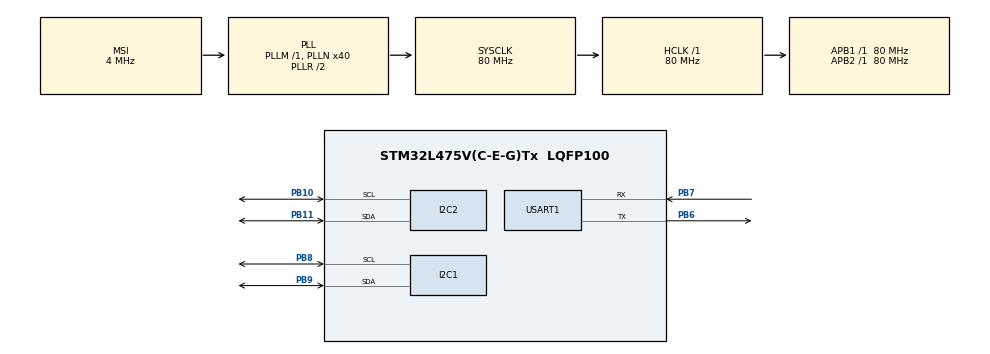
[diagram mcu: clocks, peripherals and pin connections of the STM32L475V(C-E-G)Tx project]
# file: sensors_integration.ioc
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I2C1.Timing=0x10D19CE4
I2C2.Timing=0x10D19CE4
Mcu.Family=STM32L4
Mcu.Name=STM32L475V(C-E-G)Tx
Mcu.Package=LQFP100
NVIC.PriorityGroup=NVIC_PRIORITYGROUP_4
PB10.Mode=I2C
PB10.Signal=I2C2_SCL
PB11.Mode=I2C
PB11.Signal=I2C2_SDA
PB6.Mode=Asynchronous
PB6.Signal=USART1_TX
PB7.Mode=Asynchronous
PB7.Signal=USART1_RX
PB8.Mode=I2C
PB8.Signal=I2C1_SCL
PB9.Mode=I2C
PB9.Signal=I2C1_SDA
ProjectManager.HeapSize=0x200
ProjectManager.StackSize=0x400
ProjectManager.TargetToolchain=CMake
RCC.ADCFreq_Value=48000000
RCC.AHBFreq_Value=80000000
RCC.APB1Freq_Value=80000000
RCC.APB1TimFreq_Value=80000000
RCC.APB2Freq_Value=80000000
RCC.APB2TimFreq_Value=80000000
RCC.CortexFreq_Value=80000000
RCC.HCLKFreq_Value=80000000
RCC.HSE_VALUE=8000000
RCC.HSI_VALUE=16000000
RCC.LSE_VALUE=32768
RCC.MSI_VALUE=4000000
RCC.PLLN=40
RCC.PLLSAI1N=24
RCC.SYSCLKFreq_VALUE=80000000
RCC.SYSCLKSource=RCC_SYSCLKSOURCE_PLLCLK
RCC.USBFreq_Value=48000000
RCC.VCOOutputFreq_Value=160000000
USART1.VirtualMode-Asynchronous=VM_ASYNC
board=B-L475E-IOT01A1

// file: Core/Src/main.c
/* USER CODE BEGIN Header */
/**
  ******************************************************************************
  * @file           : main.c
  * @brief          : Main program body
  ******************************************************************************
  * @attention
  *
  * Copyright (c) 2025 STMicroelectronics.
  * All rights reserved.
  *
  * This software is licensed under terms that can be found in the LICENSE file
  * in the root directory of this software component.
  * If no LICENSE file comes with this software, it is provided AS-IS.
  *
  ******************************************************************************
  */
/* USER CODE END Header */
#include "main.h"

/* USER CODE BEGIN Includes */
#include <stdio.h>
#include <string.h>
#include <stdlib.h>
#include "lcd.h"
#include "hts221.h"
#include "lps22hb.h"
/* USER CODE END Includes */

I2C_HandleTypeDef hi2c1;
I2C_HandleTypeDef hi2c2;

UART_HandleTypeDef huart1;

/* USER CODE BEGIN PV */
volatile float temp = 0.0;
volatile float hum = 0.0;
volatile float press = 0.0;
/* USER CODE END PV */

void SystemClock_Config(void);
static void MX_GPIO_Init(void);
static void MX_I2C1_Init(void);
static void MX_I2C2_Init(void);
static void MX_USART1_UART_Init(void);

int main(void)
{

  /* MCU Configuration--------------------------------------------------------*/

  /* Reset of all peripherals, Initializes the Flash interface and the Systick. */
  HAL_Init();

  /* Configure the system clock */
  SystemClock_Config();

  /* Initialize all configured peripherals */
  MX_GPIO_Init();
  MX_I2C1_Init();
  MX_I2C2_Init();
  MX_USART1_UART_Init();
  /* USER CODE BEGIN 2 */

  // Initialize LCD and Sensors
  lcd_init();
  lcd_clear();

  if(HTS221_Init()==-1)
  {
	  lcd_print("Error: HTS221");
  }
  else if(LPS22HB_Init()==-1)
  {

	  lcd_print("Error: LPS22HB");
  }
  else
  {
    lcd_clear();
	  lcd_print("Initialized");
	  HAL_Delay(2000);
  }
  /* USER CODE END 2 */

  /* Infinite loop */
  /* USER CODE BEGIN WHILE */
  while (1)
  {
    // Read temperature, humidity and pressure
    int ret;
    ret = HTS221_ReadTempHum(&temp, &hum);
    printf("Temp: %.2f, Hum: %.2f\n", temp, hum); // Debug print
    if (ret != 0){
      lcd_clear();
      lcd_print("HTS read failed");
      // Wait and retry until sensor recovers
      while (HTS221_ReadTempHum(&temp, &hum) != 0) {
        HAL_Delay(1000);
      }
    }
    press = LPS22HB_ReadPressure();
    if (press < 0) {
      lcd_clear();
      lcd_print("LPS read failed");
      // Wait and retry until sensor recovers
      while ((press = LPS22HB_ReadPressure()) < 0) {
        lcd_clear();
        lcd_print("LPS read failed");
        HAL_Delay(1000);
      }
    }

    // Fill the line buffers
    char line1[32], line2[32];
    snprintf(line1,sizeof(line1),"T:%0.1fC H:%.2f%%", temp, hum);
    snprintf(line2, sizeof(line2),"P:%.2fhPa", press);

    // Display data on LCD
	  lcd_clear();
    lcd_set_cursor(0, 0);
	  lcd_print(line1);
	  lcd_set_cursor(1, 0);
	  lcd_print(line2);

	  HAL_Delay(2500);
    lcd_clear();
    /* USER CODE END WHILE */

    /* USER CODE BEGIN 3 */
  }
  return 0;
  /* USER CODE END 3 */
}

void SystemClock_Config(void)
{
  RCC_OscInitTypeDef RCC_OscInitStruct = {0};
  RCC_ClkInitTypeDef RCC_ClkInitStruct = {0};

  /** Configure the main internal regulator output voltage
  */
  if (HAL_PWREx_ControlVoltageScaling(PWR_REGULATOR_VOLTAGE_SCALE1) != HAL_OK)
  {
    Error_Handler();
  }

  /** Initializes the RCC Oscillators according to the specified parameters
  * in the RCC_OscInitTypeDef structure.
  */
  RCC_OscInitStruct.OscillatorType = RCC_OSCILLATORTYPE_MSI;
  RCC_OscInitStruct.MSIState = RCC_MSI_ON;
  RCC_OscInitStruct.MSICalibrationValue = 0;
  RCC_OscInitStruct.MSIClockRange = RCC_MSIRANGE_6;
  RCC_OscInitStruct.PLL.PLLState = RCC_PLL_ON;
  RCC_OscInitStruct.PLL.PLLSource = RCC_PLLSOURCE_MSI;
  RCC_OscInitStruct.PLL.PLLM = 1;
  RCC_OscInitStruct.PLL.PLLN = 40;
  RCC_OscInitStruct.PLL.PLLP = RCC_PLLP_DIV7;
  RCC_OscInitStruct.PLL.PLLQ = RCC_PLLQ_DIV2;
  RCC_OscInitStruct.PLL.PLLR = RCC_PLLR_DIV2;
  if (HAL_RCC_OscConfig(&RCC_OscInitStruct) != HAL_OK)
  {
    Error_Handler();
  }

  /** Initializes the CPU, AHB and APB buses clocks
  */
  RCC_ClkInitStruct.ClockType = RCC_CLOCKTYPE_HCLK|RCC_CLOCKTYPE_SYSCLK
                              |RCC_CLOCKTYPE_PCLK1|RCC_CLOCKTYPE_PCLK2;
  RCC_ClkInitStruct.SYSCLKSource = RCC_SYSCLKSOURCE_PLLCLK;
  RCC_ClkInitStruct.AHBCLKDivider = RCC_SYSCLK_DIV1;
  RCC_ClkInitStruct.APB1CLKDivider = RCC_HCLK_DIV1;
  RCC_ClkInitStruct.APB2CLKDivider = RCC_HCLK_DIV1;

  if (HAL_RCC_ClockConfig(&RCC_ClkInitStruct, FLASH_LATENCY_4) != HAL_OK)
  {
    Error_Handler();
  }
}

static void MX_I2C1_Init(void)
{

  hi2c1.Instance = I2C1;
  hi2c1.Init.Timing = 0x10D19CE4;
  hi2c1.Init.OwnAddress1 = 0;
  hi2c1.Init.AddressingMode = I2C_ADDRESSINGMODE_7BIT;
  hi2c1.Init.DualAddressMode = I2C_DUALADDRESS_DISABLE;
  hi2c1.Init.OwnAddress2 = 0;
  hi2c1.Init.OwnAddress2Masks = I2C_OA2_NOMASK;
  hi2c1.Init.GeneralCallMode = I2C_GENERALCALL_DISABLE;
  hi2c1.Init.NoStretchMode = I2C_NOSTRETCH_DISABLE;
  if (HAL_I2C_Init(&hi2c1) != HAL_OK)
  {
    Error_Handler();
  }

  /** Configure Analogue filter
  */
  if (HAL_I2CEx_ConfigAnalogFilter(&hi2c1, I2C_ANALOGFILTER_ENABLE) != HAL_OK)
  {
    Error_Handler();
  }

  /** Configure Digital filter
  */
  if (HAL_I2CEx_ConfigDigitalFilter(&hi2c1, 0) != HAL_OK)
  {
    Error_Handler();
  }

}

static void MX_I2C2_Init(void)
{

  hi2c2.Instance = I2C2;
  hi2c2.Init.Timing = 0x10D19CE4;
  hi2c2.Init.OwnAddress1 = 0;
  hi2c2.Init.AddressingMode = I2C_ADDRESSINGMODE_7BIT;
  hi2c2.Init.DualAddressMode = I2C_DUALADDRESS_DISABLE;
  hi2c2.Init.OwnAddress2 = 0;
  hi2c2.Init.OwnAddress2Masks = I2C_OA2_NOMASK;
  hi2c2.Init.GeneralCallMode = I2C_GENERALCALL_DISABLE;
  hi2c2.Init.NoStretchMode = I2C_NOSTRETCH_DISABLE;
  if (HAL_I2C_Init(&hi2c2) != HAL_OK)
  {
    Error_Handler();
  }

  /** Configure Analogue filter
  */
  if (HAL_I2CEx_ConfigAnalogFilter(&hi2c2, I2C_ANALOGFILTER_ENABLE) != HAL_OK)
  {
    Error_Handler();
  }

  /** Configure Digital filter
  */
  if (HAL_I2CEx_ConfigDigitalFilter(&hi2c2, 0) != HAL_OK)
  {
    Error_Handler();
  }

}

static void MX_USART1_UART_Init(void)
{

  huart1.Instance = USART1;
  huart1.Init.BaudRate = 115200;
  huart1.Init.WordLength = UART_WORDLENGTH_8B;
  huart1.Init.StopBits = UART_STOPBITS_1;
  huart1.Init.Parity = UART_PARITY_NONE;
  huart1.Init.Mode = UART_MODE_TX_RX;
  huart1.Init.HwFlowCtl = UART_HWCONTROL_NONE;
  huart1.Init.OverSampling = UART_OVERSAMPLING_16;
  huart1.Init.OneBitSampling = UART_ONE_BIT_SAMPLE_DISABLE;
  huart1.AdvancedInit.AdvFeatureInit = UART_ADVFEATURE_NO_INIT;
  if (HAL_UART_Init(&huart1) != HAL_OK)
  {
    Error_Handler();
  }

}

static void MX_GPIO_Init(void)
{

  /* GPIO Ports Clock Enable */
  __HAL_RCC_GPIOB_CLK_ENABLE();

}

void Error_Handler(void)
{
  __disable_irq();
  while (1)
  {
  }
}
